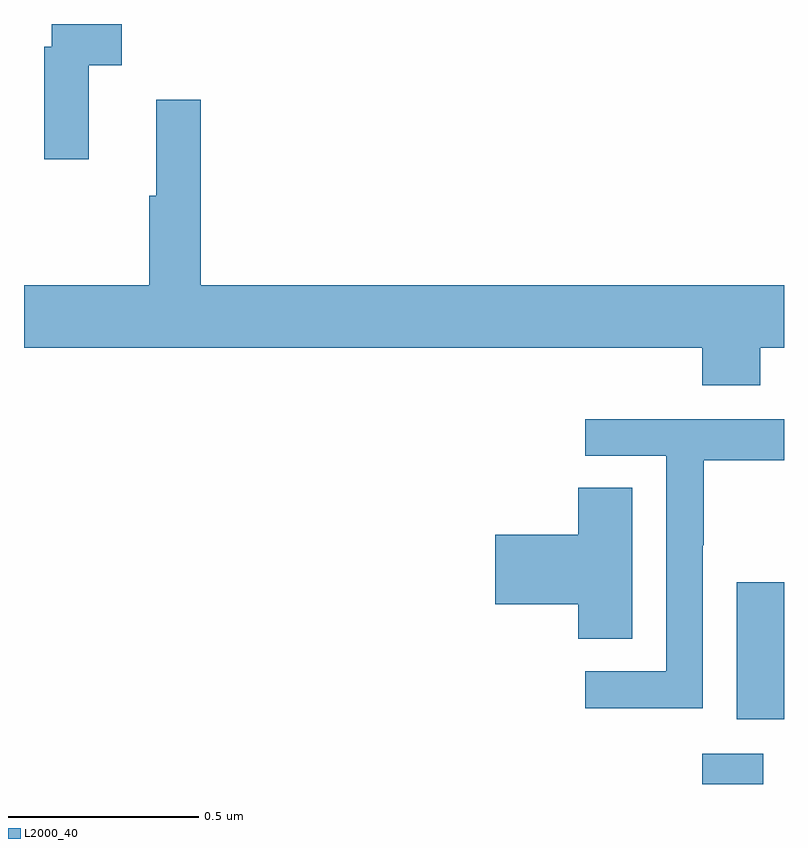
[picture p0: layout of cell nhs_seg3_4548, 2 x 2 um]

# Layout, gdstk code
import gdstk
lib = gdstk.Library(unit=1e-6, precision=1e-09)
def R(c, l, rs):  # rectangles x0, y0, x1, y1
    for r in rs: c.add(gdstk.rectangle(r[:2], r[2:], *l))
def P(c, l, *ps):  # polygons
    for p in ps: c.add(gdstk.Polygon(p, *l))
L2000_40 = (2000, 40)

nhs_seg3_4548 = lib.new_cell('nhs_seg3_4548')
R(nhs_seg3_4548, L2000_40, [(168.785,734.4,168.945,734.479), (168.875,734.57,169,734.931)])
P(nhs_seg3_4548, L2000_40, [(167.171,736.292),(167.257,736.292),(167.257,736.4),(167.073,736.4),(167.073,736.34),(167.053,736.34),(167.053,736.044),(167.171,736.044)],
  [(168.937,735.548),(169,735.548),(169,735.712),(167.465,735.712),(167.465,736.201),(167.348,736.201),(167.348,735.948),(167.329,735.948),(167.329,735.712),(167,735.712),(167,735.548),(168.785,735.548),(168.785,735.449),(168.937,735.449)],
  [(168.786,735.028),(168.789,735.028),(168.789,735.252),(169,735.252),(169,735.36),(168.477,735.36),(168.477,735.264),(168.69,735.264),(168.69,734.697),(168.477,734.697),(168.477,734.599),(168.786,734.599)],
  [(168.601,735.179),(168.458,735.179),(168.458,735.056),(168.24,735.056),(168.24,734.873),(168.458,734.873),(168.458,734.782),(168.601,734.782)])

lib.write_gds('nhs_seg3_4548.gds')
